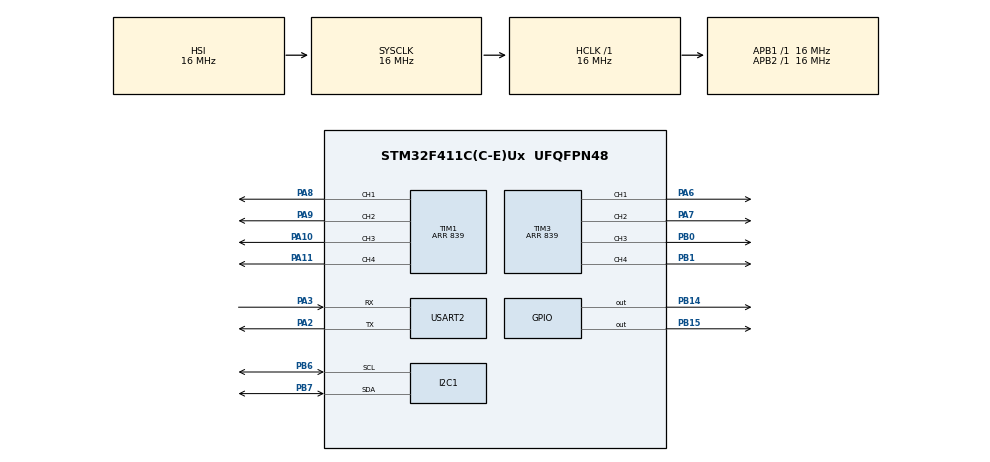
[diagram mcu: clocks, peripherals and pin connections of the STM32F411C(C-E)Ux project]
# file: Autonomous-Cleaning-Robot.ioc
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Dma.Request0=USART2_RX
Dma.USART2_RX.0.Direction=DMA_PERIPH_TO_MEMORY
Dma.USART2_RX.0.FIFOMode=DMA_FIFOMODE_DISABLE
Dma.USART2_RX.0.Instance=DMA1_Stream5
Dma.USART2_RX.0.MemDataAlignment=DMA_MDATAALIGN_BYTE
Dma.USART2_RX.0.MemInc=DMA_MINC_ENABLE
Dma.USART2_RX.0.Mode=DMA_NORMAL
Dma.USART2_RX.0.PeriphDataAlignment=DMA_PDATAALIGN_BYTE
Dma.USART2_RX.0.PeriphInc=DMA_PINC_DISABLE
Dma.USART2_RX.0.Priority=DMA_PRIORITY_LOW
FREERTOS.Tasks01=defaultTask,24,128,StartDefaultTask,Default,NULL,Dynamic,NULL,NULL
FREERTOS.configUSE_NEWLIB_REENTRANT=1
Mcu.Family=STM32F4
Mcu.Name=STM32F411C(C-E)Ux
Mcu.Package=UFQFPN48
NVIC.DMA1_Stream5_IRQn=true\:5\:0\:false\:false\:true\:true\:false\:true\:true
NVIC.PriorityGroup=NVIC_PRIORITYGROUP_4
NVIC.TIM2_IRQn=true\:15\:0\:false\:false\:true\:false\:false\:true\:true
NVIC.TimeBase=TIM2_IRQn
NVIC.TimeBaseIP=TIM2
PA10.Signal=S_TIM1_CH3
PA11.Signal=S_TIM1_CH4
PA13.Mode=Serial_Wire
PA13.Signal=SYS_JTMS-SWDIO
PA14.Mode=Serial_Wire
PA14.Signal=SYS_JTCK-SWCLK
PA2.Mode=Asynchronous
PA2.Signal=USART2_TX
PA3.Mode=Asynchronous
PA3.Signal=USART2_RX
PA6.Signal=S_TIM3_CH1
PA7.Signal=S_TIM3_CH2
PA8.Signal=S_TIM1_CH1
PA9.Signal=S_TIM1_CH2
PB0.Signal=S_TIM3_CH3
PB1.Signal=S_TIM3_CH4
PB14.Signal=GPIO_Output
PB15.Signal=GPIO_Output
PB6.Mode=I2C
PB6.Signal=I2C1_SCL
PB7.Mode=I2C
PB7.Signal=I2C1_SDA
ProjectManager.HeapSize=0x200
ProjectManager.StackSize=0x400
ProjectManager.TargetToolchain=STM32CubeIDE
RCC.AHBFreq_Value=16000000
RCC.APB1Freq_Value=16000000
RCC.APB2Freq_Value=16000000
RCC.CortexFreq_Value=16000000
RCC.HSE_VALUE=25000000
RCC.HSI_VALUE=16000000
RCC.LSE_VALUE=32768
RCC.SYSCLKFreq_VALUE=16000000
RCC.VCOOutputFreq_Value=192000000
SH.S_TIM1_CH1.0=TIM1_CH1,PWM Generation1 CH1
SH.S_TIM1_CH2.0=TIM1_CH2,PWM Generation2 CH2
SH.S_TIM1_CH3.0=TIM1_CH3,PWM Generation3 CH3
SH.S_TIM1_CH4.0=TIM1_CH4,PWM Generation4 CH4
SH.S_TIM3_CH1.0=TIM3_CH1,PWM Generation1 CH1
SH.S_TIM3_CH2.0=TIM3_CH2,PWM Generation2 CH2
SH.S_TIM3_CH3.0=TIM3_CH3,PWM Generation3 CH3
SH.S_TIM3_CH4.0=TIM3_CH4,PWM Generation4 CH4
TIM1.Channel-PWM\ Generation1\ CH1=TIM_CHANNEL_1
TIM1.Channel-PWM\ Generation2\ CH2=TIM_CHANNEL_2
TIM1.Channel-PWM\ Generation3\ CH3=TIM_CHANNEL_3
TIM1.Channel-PWM\ Generation4\ CH4=TIM_CHANNEL_4
TIM1.Period=839
TIM3.Channel-PWM\ Generation1\ CH1=TIM_CHANNEL_1
TIM3.Channel-PWM\ Generation2\ CH2=TIM_CHANNEL_2
TIM3.Channel-PWM\ Generation3\ CH3=TIM_CHANNEL_3
TIM3.Channel-PWM\ Generation4\ CH4=TIM_CHANNEL_4
TIM3.Period=839
USART2.VirtualMode=VM_ASYNC
VP_FREERTOS_VS_CMSIS_V2.Mode=CMSIS_V2
VP_SYS_VS_tim2.Mode=TIM2
board=custom

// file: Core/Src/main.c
/**
 ******************************************************************************
 * @file           : main.c
 * @brief          : Main program body
 ******************************************************************************
 * @attention
 *
 * Copyright (c) 2024 STMicroelectronics.
 * All rights reserved.
 *
 * This software is licensed under terms that can be found in the LICENSE file
 * in the root directory of this software component.
 * If no LICENSE file comes with this software, it is provided AS-IS.
 *
 ******************************************************************************
 */

#include "main.h"
#include "cmsis_os.h"
#include "dma.h"
#include "i2c.h"
#include "tim.h"
#include "usart.h"
#include "gpio.h"

#include "motor_control.h"
#include "imu.h"
#include "comms.h"

void SystemClock_Config(void);
void MX_FREERTOS_Init(void);

int main(void) {
	/* Reset of all peripherals, Initializes the Flash interface and the Systick. */
	HAL_Init();

	/* Configure the system clock */
	SystemClock_Config();

	/* Initialize all configured peripherals */
	MX_GPIO_Init();
	MX_DMA_Init();
	MX_I2C1_Init();
	MX_TIM1_Init();
	MX_TIM3_Init();
	MX_USART2_UART_Init();

	/* Init scheduler */
	osKernelInitialize();

	/* Call init function for freertos objects (in cmsis_os2.c) */
	MX_FREERTOS_Init();

	/* Start scheduler */
	osKernelStart();

	/* Infinite loop */
	while (1) {

	}
}

void SystemClock_Config(void) {
	RCC_OscInitTypeDef RCC_OscInitStruct = { 0 };
	RCC_ClkInitTypeDef RCC_ClkInitStruct = { 0 };

	/** Configure the main internal regulator output voltage
	 */
	__HAL_RCC_PWR_CLK_ENABLE();
	__HAL_PWR_VOLTAGESCALING_CONFIG(PWR_REGULATOR_VOLTAGE_SCALE1);

	/** Initializes the RCC Oscillators according to the specified parameters
	 * in the RCC_OscInitTypeDef structure.
	 */
	RCC_OscInitStruct.OscillatorType = RCC_OSCILLATORTYPE_HSI;
	RCC_OscInitStruct.HSIState = RCC_HSI_ON;
	RCC_OscInitStruct.HSICalibrationValue = RCC_HSICALIBRATION_DEFAULT;
	RCC_OscInitStruct.PLL.PLLState = RCC_PLL_NONE;
	if (HAL_RCC_OscConfig(&RCC_OscInitStruct) != HAL_OK) {
		Error_Handler();
	}

	/** Initializes the CPU, AHB and APB buses clocks
	 */
	RCC_ClkInitStruct.ClockType = RCC_CLOCKTYPE_HCLK | RCC_CLOCKTYPE_SYSCLK
			| RCC_CLOCKTYPE_PCLK1 | RCC_CLOCKTYPE_PCLK2;
	RCC_ClkInitStruct.SYSCLKSource = RCC_SYSCLKSOURCE_HSI;
	RCC_ClkInitStruct.AHBCLKDivider = RCC_SYSCLK_DIV1;
	RCC_ClkInitStruct.APB1CLKDivider = RCC_HCLK_DIV1;
	RCC_ClkInitStruct.APB2CLKDivider = RCC_HCLK_DIV1;

	if (HAL_RCC_ClockConfig(&RCC_ClkInitStruct, FLASH_LATENCY_0) != HAL_OK) {
		Error_Handler();
	}
}

/* USER CODE BEGIN 4 */
void HAL_UART_RxCpltCallback(UART_HandleTypeDef *husart)
{
	int32_t state = osKernelLock();
	parse_command();
	HAL_UART_Receive_DMA(comms.uart, rx_data_buffer, RX_DATA_BUFFER_SIZE);
	osKernelUnlock();
}
/* USER CODE END 4 */

void Error_Handler(void) {
	__disable_irq();
	while (1) {
	}
}

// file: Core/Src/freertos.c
/* USER CODE BEGIN Header */
/**
  ******************************************************************************
  * File Name          : freertos.c
  * Description        : Code for freertos applications
  ******************************************************************************
  * @attention
  *
  * Copyright (c) 2024 STMicroelectronics.
  * All rights reserved.
  *
  * This software is licensed under terms that can be found in the LICENSE file
  * in the root directory of this software component.
  * If no LICENSE file comes with this software, it is provided AS-IS.
  *
  ******************************************************************************
  */
/* USER CODE END Header */

#include "FreeRTOS.h"
#include "task.h"
#include "main.h"
#include "cmsis_os.h"

/* USER CODE BEGIN Includes */
#include "motor_control.h"
#include "imu.h"
#include "comms.h"
/* USER CODE END Includes */

/* USER CODE BEGIN Variables */
Motor_t motor1, motor2, motor3, motor4;
Chassis_Controller_t chassis;
IMU_t imu_1, imu_2;

/* USER CODE END Variables */
/* Definitions for defaultTask */
osThreadId_t defaultTaskHandle;
const osThreadAttr_t defaultTask_attributes = {
  .name = "defaultTask",
  .stack_size = 128 * 4,
  .priority = (osPriority_t) osPriorityNormal,
};

osThreadId_t driveTaskHandle;
const osThreadAttr_t driveTask_attributes = {
  .name = "driveTask",
  .stack_size = 128 * 4,
  .priority = (osPriority_t) osPriorityNormal,
};

osThreadId_t commsTaskHandle;
const osThreadAttr_t commsTask_attributes = {
  .name = "commsTask",
  .stack_size = 128 * 4,
  .priority = (osPriority_t) osPriorityNormal,
};

osThreadId_t imuTaskHandle;
const osThreadAttr_t imuTask_attributes = {
  .name = "imuTask",
  .stack_size = 128 * 4,
  .priority = (osPriority_t) osPriorityNormal,
};

osMutexId_t incomingDataMutex;
const osMutexAttr_t incomingDataMutex_attr = {
  .name = "incomingDataMutex",
  .attr_bits = osMutexPrioInherit,
  .cb_mem = NULL,
  .cb_size = 0U
};

osMutexId_t imuDataMutex;
const osMutexAttr_t imuDataMutex_attr = {
  .name = "imuDataMutex",
  .attr_bits = osMutexPrioInherit,
  .cb_mem = NULL,
  .cb_size = 0U
};

void StartDefaultTask(void *argument);

void StartDriveTask(void *arg);
void StartCommsTask(void *arg);
void StartImuTask(void *arg);

void MX_FREERTOS_Init(void); /* (MISRA C 2004 rule 8.1) */

void MX_FREERTOS_Init(void) {
  /* USER CODE BEGIN Init */
	/* Initialize Chassis Controller */
	motor1 = MOTOR_init(&htim1, TIM_CHANNEL_1, &htim1, TIM_CHANNEL_2,
		WHEEL_RAD);
	motor2 = MOTOR_init(&htim1, TIM_CHANNEL_3, &htim1, TIM_CHANNEL_4,
		WHEEL_RAD);
	motor3 = MOTOR_init(&htim3, TIM_CHANNEL_1, &htim3, TIM_CHANNEL_2,
		WHEEL_RAD);
	motor4 = MOTOR_init(&htim3, TIM_CHANNEL_3, &htim3, TIM_CHANNEL_4,
		WHEEL_RAD);

	chassis = CHASSIS_init(&motor1, &motor2, &motor3,
		&motor4, 0.25);

	imu_2 = IMU_Init(
		true, &hi2c1,
		GPIOB,
		GPIO_PIN_15);

	imu_1 = IMU_Init(
		false, &hi2c1,
		GPIOB,
		GPIO_PIN_14);

	Init_comms(&huart2);

  /* USER CODE END Init */

  /* USER CODE BEGIN RTOS_MUTEX */
  /* add mutexes, ... */
  incomingDataMutex = osMutexNew(&incomingDataMutex_attr);
  imuDataMutex = osMutexNew(&imuDataMutex_attr);

  /* USER CODE END RTOS_MUTEX */

  /* Create the thread(s) */
  /* creation of defaultTask */
  defaultTaskHandle = osThreadNew(StartDefaultTask, NULL, &defaultTask_attributes);
  driveTaskHandle = osThreadNew(StartDriveTask, NULL, &driveTask_attributes);
  commsTaskHandle = osThreadNew(StartCommsTask, NULL, &commsTask_attributes);
  imuTaskHandle = osThreadNew(StartImuTask, NULL, &imuTask_attributes);

}

void StartDefaultTask(void *argument)
{
  /* USER CODE BEGIN StartDefaultTask */
  /* Infinite loop */
  for(;;)
  {
	CHASSIS_drive(&chassis);
    osDelay(1);
  }
  /* USER CODE END StartDefaultTask */
}

void StartDriveTask(void *arg)
{
  osStatus_t mutex_status;
  while(1)
  {
	if (incomingDataMutex != NULL)
	{
      mutex_status = osMutexAcquire(incomingDataMutex, osWaitForever);
      if (mutex_status == osOK){
    	  float omega = comms.incoming_data.twist.angular[2];
		  float speed = comms.incoming_data.twist.linear[0];
		  CHASSIS_set_speed(&chassis, speed, omega);
      }
      osMutexRelease(incomingDataMutex);
	}
    CHASSIS_drive(&chassis);
    osDelay(1);
  }
}

void StartCommsTask(void *arg)
{
  osStatus_t mutex_status;
  while(1)
  {
	if (imuDataMutex != NULL)
	{
	  mutex_status = osMutexAcquire(imuDataMutex, 0);
	  if (mutex_status == osOK){
	    process_sensor_data(&(imu_1.imuData), &(imu_2.imuData));

	    osMutexRelease(imuDataMutex);
	    int32_t state = osKernelLock();
	    HAL_UART_Transmit(comms.uart, tx_data_buffer, TX_DATA_BUFFER_SIZE,
		    1000);
	    osKernelUnlock();
	  }
	}
	osDelay(1);
  }
}

void StartImuTask(void *arg)
{
  osStatus_t mutex_status;
  while(1)
  {
	if (imuDataMutex != NULL)
	{
	  mutex_status = osMutexAcquire(imuDataMutex, osWaitForever);
	  if (mutex_status == osOK){
		  IMU_updateData(&imu_1);
		  IMU_updateData(&imu_2);
	  }
	  osMutexRelease(imuDataMutex);
	}
	osDelay(1000/IMU_REFRESH_FREQ);
  }
}
